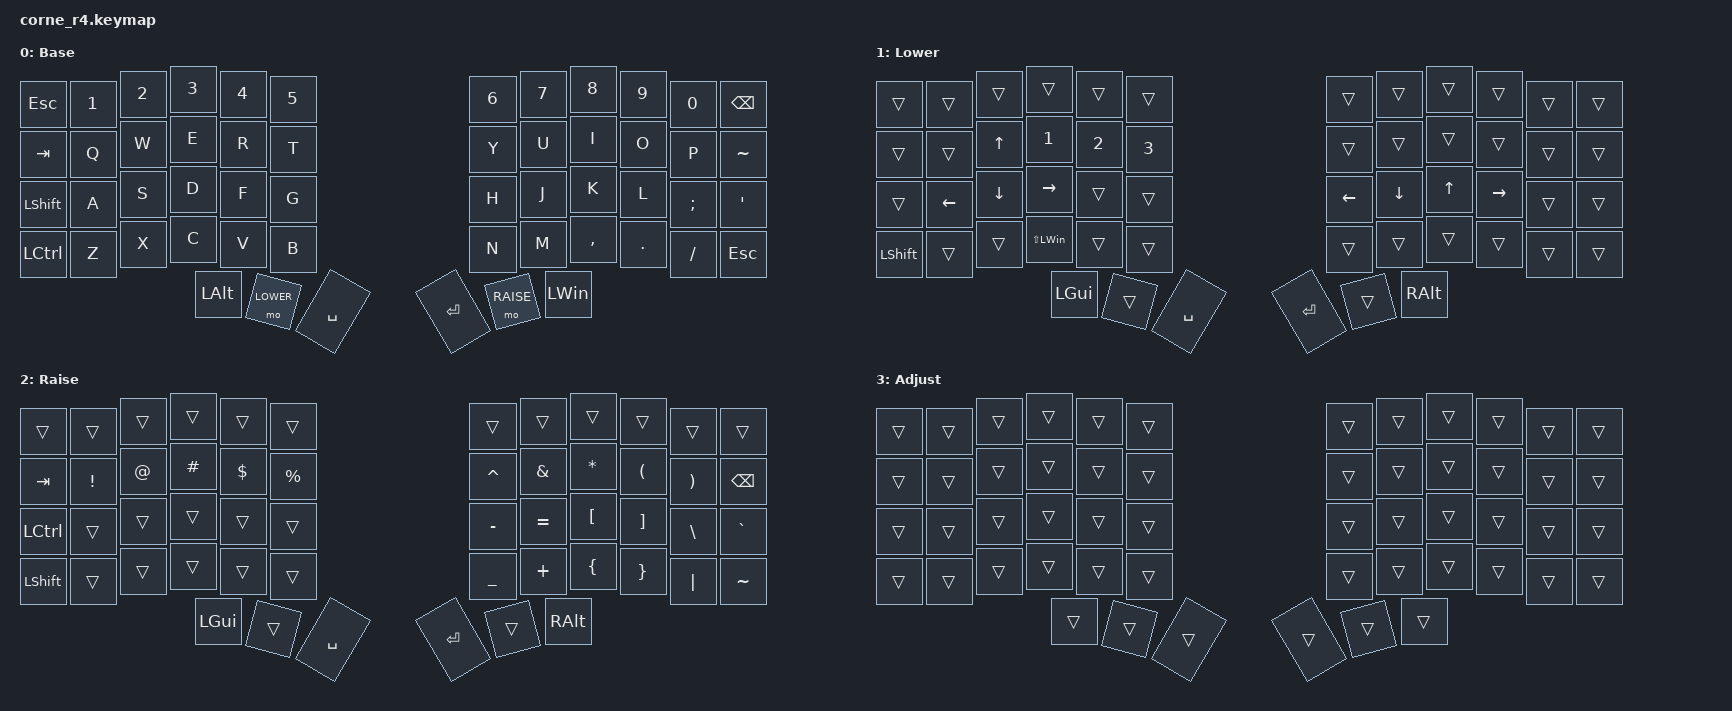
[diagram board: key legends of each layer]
/*
 * Copyright (c) 2020 The ZMK Contributors
 *
 * SPDX-License-Identifier: MIT
 */

#include <behaviors.dtsi>
#include <dt-bindings/zmk/keys.h>

#define BASE 0
#define LOWER 1
#define RAISE 2
#define ADJUST 3

/ {
    conditional_layers {
        compatible = "zmk,conditional-layers";

        adjust_layer {
            if-layers = <LOWER RAISE>;
            then-layer = <ADJUST>;
        };
    };

    keymap {
        compatible = "zmk,keymap";

        default_layer {
            display-name = "Base";
            bindings = <
&kp ESC           &kp N1  &kp N2  &kp N3        &kp N4     &kp N5     &kp N6   &kp N7     &kp N8        &kp N9   &kp N0    &kp BACKSPACE
&kp TAB           &kp Q   &kp W   &kp E         &kp R      &kp T      &kp Y    &kp U      &kp I         &kp O    &kp P     &kp TILDE
&kp LSHFT         &kp A   &kp S   &kp D         &kp F      &kp G      &kp H    &kp J      &kp K         &kp L    &kp SEMI  &kp SQT
&kp LEFT_CONTROL  &kp Z   &kp X   &kp C         &kp V      &kp B      &kp N    &kp M      &kp COMMA     &kp DOT  &kp FSLH  &kp ESC
                                  &kp LEFT_ALT  &mo LOWER  &kp SPACE  &kp RET  &mo RAISE  &kp LEFT_WIN
            >;
        };

        lower_layer {
            display-name = "Lower";
            bindings = <
&trans     &trans          &trans          &trans            &trans        &trans        &trans    &trans    &trans    &trans     &trans  &trans
&trans     &trans          &kp UP_ARROW    &kp NUMBER_1      &kp NUMBER_2  &kp NUMBER_3  &trans    &trans    &trans    &trans     &trans  &trans
&trans     &kp LEFT_ARROW  &kp DOWN_ARROW  &kp RIGHT_ARROW   &trans        &trans        &kp LEFT  &kp DOWN  &kp UP    &kp RIGHT  &trans  &trans
&kp LSHFT  &trans          &trans          &kp LS(LEFT_WIN)  &trans        &trans        &trans    &trans    &trans    &trans     &trans  &trans
                                           &kp LGUI          &trans        &kp SPACE     &kp RET   &trans    &kp RALT
            >;
        };

        raise_layer {
            display-name = "Raise";
            bindings = <
&trans     &trans    &trans  &trans    &trans    &trans     &trans     &trans     &trans     &trans    &trans    &trans
&kp TAB    &kp EXCL  &kp AT  &kp HASH  &kp DLLR  &kp PRCNT  &kp CARET  &kp AMPS   &kp ASTRK  &kp LPAR  &kp RPAR  &kp BSPC
&kp LCTRL  &trans    &trans  &trans    &trans    &trans     &kp MINUS  &kp EQUAL  &kp LBKT   &kp RBKT  &kp BSLH  &kp GRAVE
&kp LSHFT  &trans    &trans  &trans    &trans    &trans     &kp UNDER  &kp PLUS   &kp LBRC   &kp RBRC  &kp PIPE  &kp TILDE
                             &kp LGUI  &trans    &kp SPACE  &kp RET    &trans     &kp RALT
            >;
        };

        adjust_layer {
            display-name = "Adjust";
            bindings = <
&trans  &trans  &trans  &trans  &trans  &trans  &trans  &trans  &trans  &trans  &trans  &trans
&trans  &trans  &trans  &trans  &trans  &trans  &trans  &trans  &trans  &trans  &trans  &trans
&trans  &trans  &trans  &trans  &trans  &trans  &trans  &trans  &trans  &trans  &trans  &trans
&trans  &trans  &trans  &trans  &trans  &trans  &trans  &trans  &trans  &trans  &trans  &trans
                        &trans  &trans  &trans  &trans  &trans  &trans
            >;
        };

        extra_layer_1 { status = "reserved"; };

        extra_layer_2 { status = "reserved"; };

        extra_layer_3 { status = "reserved"; };
    };
};
